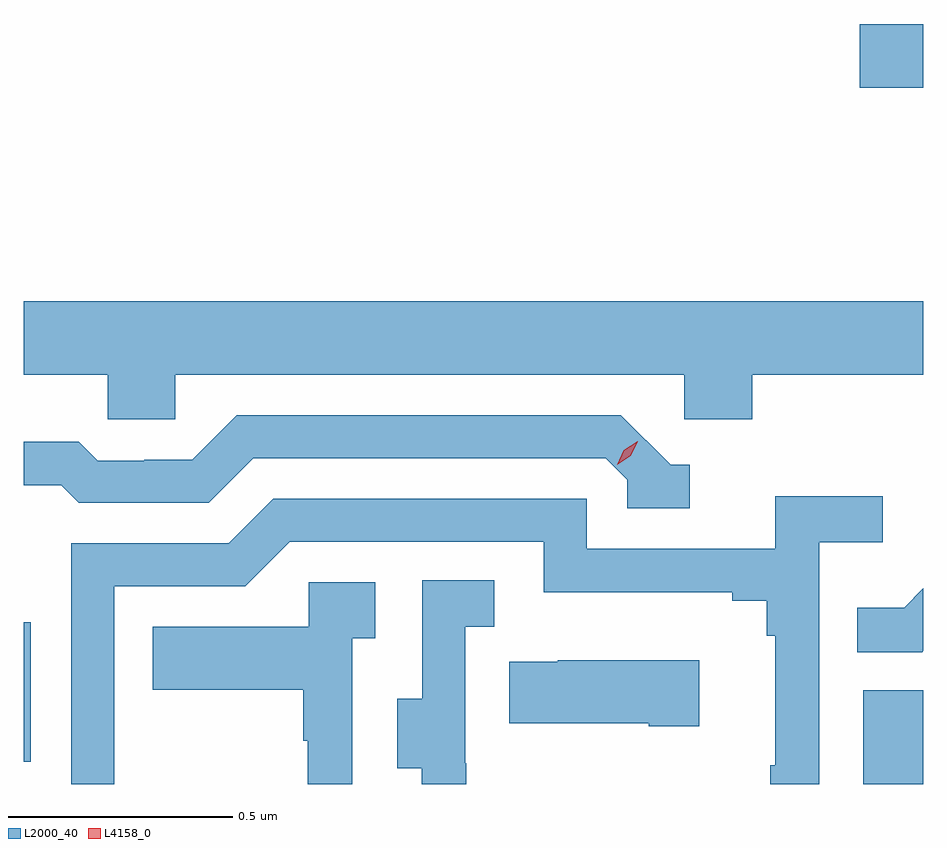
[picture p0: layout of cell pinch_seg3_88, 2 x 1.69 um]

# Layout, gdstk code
import gdstk
lib = gdstk.Library(unit=1e-6, precision=1e-09)
def R(c, l, rs):  # rectangles x0, y0, x1, y1
    for r in rs: c.add(gdstk.rectangle(r[:2], r[2:], *l))
def P(c, l, *ps):  # polygons
    for p in ps: c.add(gdstk.Polygon(p, *l))
L2000_40 = (2000, 40)
L4158_0 = (4158, 0)

pinch_seg3_88 = lib.new_cell('pinch_seg3_88')
R(pinch_seg3_88, L2000_40, [(1057.118,718.655,1057.252,718.863), (1055.252,718.704,1055.268,719.014), (1057.11,720.202,1057.252,720.344)])
P(pinch_seg3_88, L2000_40, [(1055.589,719.564),(1056.72,719.564),(1056.72,719.466),(1056.872,719.466),(1056.872,719.564),(1057.252,719.564),(1057.252,719.728),(1055.252,719.728),(1055.252,719.564),(1055.439,719.564),(1055.439,719.466),(1055.589,719.466)],
  [(1056.733,719.364),(1056.69,719.364),(1056.579,719.475),(1055.726,719.475),(1055.627,719.376),(1055.52,719.376),(1055.52,719.373),(1055.417,719.373),(1055.375,719.416),(1055.252,719.416),(1055.252,719.319),(1055.336,719.319),(1055.375,719.28),(1055.664,719.28),(1055.763,719.379),(1056.546,719.379),(1056.594,719.331),(1056.594,719.268),(1056.733,719.268)],
  [(1055.454,719.094),(1055.745,719.094),(1055.844,719.193),(1056.408,719.193),(1056.408,719.081),(1056.827,719.081),(1056.827,719.062),(1056.904,719.062),(1056.904,718.985),(1056.923,718.985),(1056.923,718.697),(1056.912,718.697),(1056.912,718.655),(1057.02,718.655),(1057.02,719.192),(1057.162,719.192),(1057.162,719.294),(1056.923,719.294),(1056.923,719.178),(1056.504,719.178),(1056.504,719.289),(1055.807,719.289),(1055.708,719.19),(1055.358,719.19),(1055.358,718.655),(1055.454,718.655)],
  [(1056.236,718.701),(1056.234,718.701),(1056.234,719.005),(1056.298,719.005),(1056.298,719.108),(1056.138,719.108),(1056.138,718.845),(1056.083,718.845),(1056.083,718.69),(1056.137,718.69),(1056.137,718.655),(1056.236,718.655)],
  [(1055.982,718.979),(1056.034,718.979),(1056.034,719.103),(1055.886,719.103),(1055.886,719.005),(1055.539,719.005),(1055.539,718.865),(1055.874,718.865),(1055.874,718.751),(1055.884,718.751),(1055.884,718.655),(1055.982,718.655)],
  [(1057.252,718.951),(1057.252,719.09),(1057.209,719.047),(1057.105,719.047),(1057.105,718.948),(1057.249,718.948)],
  [(1056.754,718.93),(1056.439,718.93),(1056.439,718.927),(1056.331,718.927),(1056.331,718.79),(1056.641,718.79),(1056.641,718.783),(1056.754,718.783)])
P(pinch_seg3_88, L4158_0, [(1056.571,719.364),(1056.571,719.364),(1056.586,719.397),(1056.617,719.417),(1056.617,719.417),(1056.617,719.417),(1056.602,719.384),(1056.571,719.364)])

lib.write_gds('pinch_seg3_88.gds')
